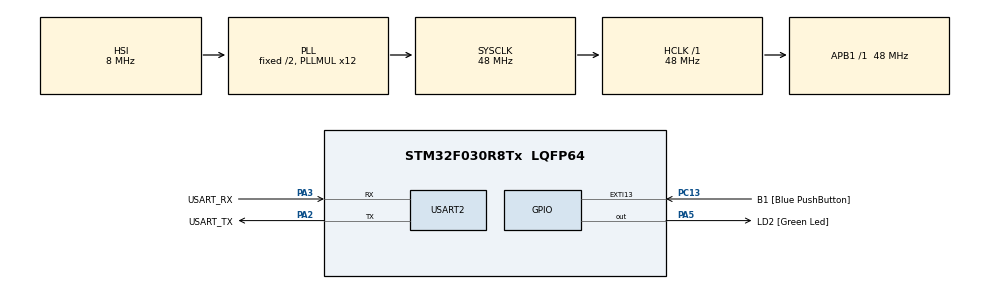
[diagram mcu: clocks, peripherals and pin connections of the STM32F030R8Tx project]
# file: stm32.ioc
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Mcu.Family=STM32F0
Mcu.Name=STM32F030R8Tx
Mcu.Package=LQFP64
PA13.GPIO_Label=TMS
PA13.Mode=Serial_Wire
PA13.Signal=SYS_SWDIO
PA14.GPIO_Label=TCK
PA14.Mode=Serial_Wire
PA14.Signal=SYS_SWCLK
PA2.GPIO_Label=USART_TX
PA2.GPIO_Mode=GPIO_MODE_AF_PP
PA2.GPIO_PuPd=GPIO_NOPULL
PA2.GPIO_Speed=GPIO_SPEED_FREQ_LOW
PA2.Mode=Asynchronous
PA2.Signal=USART2_TX
PA3.GPIO_Label=USART_RX
PA3.GPIO_Mode=GPIO_MODE_AF_PP
PA3.GPIO_PuPd=GPIO_NOPULL
PA3.GPIO_Speed=GPIO_SPEED_FREQ_LOW
PA3.Mode=Asynchronous
PA3.Signal=USART2_RX
PA5.GPIO_Label=LD2 [Green Led]
PA5.GPIO_Mode=GPIO_MODE_OUTPUT_PP
PA5.GPIO_PuPd=GPIO_NOPULL
PA5.GPIO_Speed=GPIO_SPEED_FREQ_LOW
PA5.Signal=GPIO_Output
PC13.GPIO_Label=B1 [Blue PushButton]
PC13.GPIO_ModeDefaultEXTI=GPIO_MODE_IT_FALLING
PC13.Signal=GPXTI13
PC14-OSC32_IN.Mode=LSE-External-Oscillator
PC14-OSC32_IN.Signal=RCC_OSC32_IN
PC15-OSC32_OUT.Mode=LSE-External-Oscillator
PC15-OSC32_OUT.Signal=RCC_OSC32_OUT
PF0-OSC_IN.Mode=HSE-External-Clock-Source
PF0-OSC_IN.Signal=RCC_OSC_IN
PF1-OSC_OUT.Signal=RCC_OSC_OUT
ProjectManager.HeapSize=0x200
ProjectManager.StackSize=0x400
ProjectManager.TargetToolchain=STM32CubeIDE
RCC.AHBFreq_Value=48000000
RCC.APB1Freq_Value=48000000
RCC.APB1TimFreq_Value=48000000
RCC.HCLKFreq_Value=48000000
RCC.PLLMUL=RCC_PLL_MUL12
RCC.SYSCLKFreq_VALUE=48000000
RCC.SYSCLKSource=RCC_SYSCLKSOURCE_PLLCLK
TIM16.Prescaler=47
USART2.VirtualMode-Asynchronous=VM_ASYNC
VP_TIM16_VS_ClockSourceINT.Mode=Enable_Timer
board=NUCLEO-F030R8

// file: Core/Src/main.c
/* USER CODE BEGIN Header */
/**
 ******************************************************************************
 * @file           : main.c
 * @brief          : Main program body
 ******************************************************************************
 * @attention
 *
 * Copyright (c) 2025 STMicroelectronics.
 * All rights reserved.
 *
 * This software is licensed under terms that can be found in the LICENSE file
 * in the root directory of this software component.
 * If no LICENSE file comes with this software, it is provided AS-IS.
 *
 ******************************************************************************
 */
/* USER CODE END Header */
#include "main.h"
#include <stdio.h>
#include <math.h>
#include <stdint.h>
#include <string.h>

/* USER CODE BEGIN PD */
#define IMG_SIZE 90			 // Tamanho N x N da imagem (90x90)
#define KUWAHARA_WINDOW 3	 // Janela do filtro Kuwahara
#define BUFFER_SIZE 46		 // Buffer para 46 linhas (0-45 ou 44-89)
#define MAX_PIXEL_VALUE 255 // Valor máximo de pixel (escala de cinza)

// Modo de operação: comente a linha abaixo para usar modo Flash (antigo)
#define STREAMING_MODE // Habilita recepção via UART (modo streaming)

#ifndef STREAMING_MODE
// Modo Flash: escolha a imagem
#define USE_MONA_LISA
// #define USE_PEPPER

#ifdef USE_MONA_LISA
#include "image_mona_lisa.h"
#elif defined(USE_PEPPER)
#include "image_pepper.h"
#else
#error "Nenhuma imagem selecionada! Defina USE_MONA_LISA ou USE_PEPPER"
#endif
#endif

/* USER CODE END PD */

TIM_HandleTypeDef htim16;

UART_HandleTypeDef huart2;

/* USER CODE BEGIN PV */
#ifdef STREAMING_MODE
// Buffer para 46 linhas da imagem (46x90)
static pixel_t image_buffer[BUFFER_SIZE][IMG_SIZE];
#endif
/* USER CODE END PV */

void SystemClock_Config(void);
static void MX_GPIO_Init(void);
static void MX_USART2_UART_Init(void);
static void MX_TIM16_Init(void);

/* USER CODE BEGIN 0 */
/**
 * @brief Aplica o filtro Kuwahara na imagem de entrada.
 * @param image_in Ponteiro para a imagem de entrada (const, na Flash).
 * @param image_out Ponteiro para a imagem de saída (na SRAM).
 * @param window Tamanho da janela do filtro (deve ser 3, 5, 7, etc.).
 */
/**
 * @brief Aplica o filtro Kuwahara na imagem de entrada e imprime o resultado no terminal.
 * @param image_in Ponteiro para a imagem de entrada (const, na Flash).
 * @param window Tamanho da janela do filtro (deve ser 3, 5, 7, etc.).
 */
void kuwahara_filter(const pixel_t image_in[IMG_SIZE][IMG_SIZE],
							int window)
{
	// Define dimensões da imagem e calcular tamanho dos quadrantes
	const int width = IMG_SIZE;
	const int height = IMG_SIZE;
	const int window_size = window;
	const int quadrant_size = (window_size + 1) / 2;

	// Imprime cabeçalho PGM P2 APENAS UMA VEZ
	printf("P2\n");
	printf("%d %d\n", IMG_SIZE, IMG_SIZE);
	printf("255\n");

	// Percorre cada pixel da imagem e imprime o resultado Imediatamente
	for (int pixel_y = 0; pixel_y < height; ++pixel_y)
	{
		for (int pixel_x = 0; pixel_x < width; ++pixel_x)
		{
			// Calcula canto superior esquerdo da janela centrada no pixel atual
			int window_top_y = pixel_y - (window_size / 2);
			int window_left_x = pixel_x - (window_size / 2);

			// Inicializa busca pelo quadrante com menor desvio padrão
			double best_std_dev = 1e300; // valor inicial muito grande
			double best_mean = image_in[pixel_y][pixel_x];

			// Analisa os 4 quadrantes sobrepostos
			// Pykuwahara usa "anchors" na ordem: (0,0), (0,1), (1,0), (1,1)
			// Que correspondem aos quadrantes: (1,1), (0,1), (1,0), (0,0)
			int quadrant_order[4][2] = {{1, 1}, {0, 1}, {1, 0}, {0, 0}};

			for (int q = 0; q < 4; ++q)
			{
				int quadrant_y = quadrant_order[q][0];
				int quadrant_x = quadrant_order[q][1];

				// Acumula soma e soma dos quadrados para calcular estatísticas
				long long sum = 0, sum_sq = 0;
				int pixel_count = 0;

				// Percorre pixels dentro do quadrante atual
				for (int offset_y = 0; offset_y < quadrant_size; ++offset_y)
				{
					for (int offset_x = 0; offset_x < quadrant_size; ++offset_x)
					{
						// Calcula posição real do pixel (com sobreposição dos quadrantes)
						int read_y = window_top_y + (quadrant_y ? (quadrant_size - 1) : 0) + offset_y;
						int read_x = window_left_x + (quadrant_x ? (quadrant_size - 1) : 0) + offset_x;

						// Aplica BORDER_REFLECT_101 (reflexão espelhada, como no OpenCV)
						// Reflete para dentro da imagem sem incluir o pixel da borda
						if (read_y < 0)
							read_y = -read_y;
						if (read_y >= height)
							read_y = 2 * height - read_y - 2;
						if (read_x < 0)
							read_x = -read_x;
						if (read_x >= width)
							read_x = 2 * width - read_x - 2;

						// Clamping como fallback para casos extremos
						if (read_y < 0)
							read_y = 0;
						if (read_y >= height)
							read_y = height - 1;
						if (read_x < 0)
							read_x = 0;
						if (read_x >= width)
							read_x = width - 1;

						// Acumula valores para cálculo de média e desvio padrão
						int pixel_value = image_in[read_y][read_x];
						sum += pixel_value;
						sum_sq += (long long)pixel_value * (long long)pixel_value;
						pixel_count++;
					}
				}

				// Calcula estatísticas do quadrante atual
				if (pixel_count > 1)
				{
					double mean = (double)sum / (double)pixel_count;

					// Calcula Variância Populacional
					double variance = ((double)sum_sq - (double)sum * sum / pixel_count) / pixel_count;

					double std_dev = sqrt(variance);

					// Atualiza se encontrou quadrante mais homogêneo (menor desvio padrão)
					if (std_dev < best_std_dev)
					{
						best_std_dev = std_dev;
						best_mean = mean; // Armazena sem arredondar
					}
				}
			}

			// Atribui média do melhor quadrante ao pixel de saída (trunca para int)
			int filtered_value = (int)(best_mean);

			printf("%d", filtered_value);

			// Adiciona um espaço após o pixel, exceto o último da linha
			if (pixel_x < width - 1)
			{
				printf(" ");
			}
		}
		// Nova linha após cada linha da imagem (90 pixels)
		printf("\n");
	}
}

#ifdef STREAMING_MODE
// Envia string inteira
static void uart_send_str(const char *s)
{
	size_t len = strlen(s);
	if (len > 0)
	{
		HAL_UART_Transmit(&huart2, (uint8_t *)s, (uint16_t)len, 1000);
	}
}

// Aguarda por um token específico (ex: "#GO2#") dentro de um tempo total
static int uart_wait_token(const char *token, uint32_t timeout_ms)
{
	const size_t tlen = strlen(token);
	size_t matched = 0;
	uint8_t b;
	uint32_t start = HAL_GetTick();

	while ((HAL_GetTick() - start) < timeout_ms)
	{
		if (HAL_UART_Receive(&huart2, &b, 1, 100) == HAL_OK)
		{
			if (b == (uint8_t)token[matched])
			{
				matched++;
				if (matched == tlen)
					return 1; // encontrado
			}
			else
			{
				matched = (b == (uint8_t)token[0]) ? 1 : 0;
			}
		}
	}
	return 0; // não encontrado
}

/**
 * @brief Recebe uma linha de pixels via UART.
 * @param line_buffer Ponteiro para array onde armazenar a linha.
 * @return 1 se sucesso, 0 se erro.
 */
int receive_line_uart(pixel_t *line_buffer)
{
	uint8_t rx_byte;
	int pixel_count = 0;
	int current_value = 0;
	int has_digit = 0;

	while (pixel_count < IMG_SIZE)
	{
		if (HAL_UART_Receive(&huart2, &rx_byte, 1, 3600000) == HAL_OK)
		{
			if (rx_byte >= '0' && rx_byte <= '9')
			{
				current_value = current_value * 10 + (rx_byte - '0');
				has_digit = 1;
			}
			else if (rx_byte == ' ' || rx_byte == '\n' || rx_byte == '\r')
			{
				if (has_digit)
				{
					line_buffer[pixel_count++] = (pixel_t)current_value;
					current_value = 0;
					has_digit = 0;
				}
				if (rx_byte == '\n')
					break;
			}
		}
		else
		{
			return 0; // Timeout
		}
	}
	return (pixel_count == IMG_SIZE) ? 1 : 0;
}

/**
 * @brief Processa e envia linhas filtradas, usando o buffer como fonte.
 * @param start_line Linha inicial na imagem COMPLETA (0-89).
 * @param end_line Linha final na imagem COMPLETA (0-89).
 * @param buffer_start_line Linha inicial no BUFFER (0-45).
 */
// Aplica o filtro Kuwahara usando o buffer parcial (streaming) e envia linhas filtradas
//void kuwahara_filter_buffered(int start_line, int end_line, int buffer_start_line)
//{
//	const int width = IMG_SIZE;
//	const int height = IMG_SIZE;
//	const int window_size = KUWAHARA_WINDOW;
//	const int quadrant_size = (window_size + 1) / 2;
//
//	for (int pixel_y = start_line; pixel_y <= end_line; ++pixel_y)
//	{
//		// Mapeia coordenada global para buffer
//		int buffer_y = pixel_y - start_line + buffer_start_line;
//
//		for (int pixel_x = 0; pixel_x < width; ++pixel_x)
//		{
//			int window_top_y = pixel_y - (window_size / 2);
//			int window_left_x = pixel_x - (window_size / 2);
//
//			double best_std_dev = 1e300;
//			double best_mean = image_buffer[buffer_y][pixel_x];
//
//			int quadrant_order[4][2] = {{1, 1}, {0, 1}, {1, 0}, {0, 0}};
//
//			for (int q = 0; q < 4; ++q)
//			{
//				int quadrant_y = quadrant_order[q][0];
//				int quadrant_x = quadrant_order[q][1];
//
//				long long sum = 0, sum_sq = 0;
//				int pixel_count = 0;
//				int valid_quadrant = 1; // Flag para verificar se todos pixels estão no buffer
//
//				for (int offset_y = 0; offset_y < quadrant_size; ++offset_y)
//				{
//					for (int offset_x = 0; offset_x < quadrant_size; ++offset_x)
//					{
//						int read_y = window_top_y + (quadrant_y ? (quadrant_size - 1) : 0) + offset_y;
//						int read_x = window_left_x + (quadrant_x ? (quadrant_size - 1) : 0) + offset_x;
//
//						// BORDER_REFLECT_101
//						if (read_y < 0)
//							read_y = -read_y;
//						if (read_y >= height)
//							read_y = 2 * height - read_y - 2;
//						if (read_x < 0)
//							read_x = -read_x;
//						if (read_x >= width)
//							read_x = 2 * width - read_x - 2;
//
//						// Clamping
//						if (read_y < 0)
//							read_y = 0;
//						if (read_y >= height)
//							read_y = height - 1;
//						if (read_x < 0)
//							read_x = 0;
//						if (read_x >= width)
//							read_x = width - 1;
//
//						// Converter coordenada global -> buffer
//						int buf_y = read_y - start_line + buffer_start_line;
//
//						// Verifica se está no buffer
//						if (buf_y >= 0 && buf_y < BUFFER_SIZE)
//						{
//							int pixel_value = image_buffer[buf_y][read_x];
//							sum += pixel_value;
//							sum_sq += (long long)pixel_value * (long long)pixel_value;
//							pixel_count++;
//						}
//						else
//						{
//							// Pixel necessário não está no buffer - quadrante inválido
//							valid_quadrant = 0;
//							break;
//						}
//					}
//					if (!valid_quadrant)
//						break;
//				}
//
//				// Só considera quadrante se todos os pixels estavam disponíveis
//				if (valid_quadrant && pixel_count > 1)
//				{
//					double mean = (double)sum / (double)pixel_count;
//					double variance = ((double)sum_sq - (double)sum * sum / pixel_count) / pixel_count;
//					double std_dev = sqrt(variance);
//
//					if (std_dev < best_std_dev)
//					{
//						best_std_dev = std_dev;
//						best_mean = mean;
//					}
//				}
//			}
//
//			int filtered_value = (int)(best_mean);
//			if (pixel_x < width - 1)
//				printf("%d ", filtered_value);
//			else
//				printf("%d", filtered_value);
//		}
//		printf("\n");
//	}
//}

//// Versão Melhoria 1
//void kuwahara_filter_buffered(int start_line, int end_line, int buffer_start_line)
//{
//	const int width = IMG_SIZE;
//	const int height = IMG_SIZE;
//	const int window_size = KUWAHARA_WINDOW;
//	const int quadrant_size = (window_size + 1) / 2;
//
//	for (int pixel_y = start_line; pixel_y <= end_line; ++pixel_y)
//	{
//		// Mapeia coordenada global para buffer
//		int buffer_y = pixel_y - start_line + buffer_start_line;
//
//		for (int pixel_x = 0; pixel_x < width; ++pixel_x)
//		{
//			int window_top_y = pixel_y - (window_size / 2);
//			int window_left_x = pixel_x - (window_size / 2);
//
//			double best_variance = 1e300;
//			double best_mean = image_buffer[buffer_y][pixel_x];
//
//			int quadrant_order[4][2] = {{1, 1}, {0, 1}, {1, 0}, {0, 0}};
//
//			for (int q = 0; q < 4; ++q)
//			{
//				int quadrant_y = quadrant_order[q][0];
//				int quadrant_x = quadrant_order[q][1];
//
//				long long sum = 0, sum_sq = 0;
//				int pixel_count = 0;
//				int valid_quadrant = 1; // Flag para verificar se todos pixels estão no buffer
//
//				for (int offset_y = 0; offset_y < quadrant_size; ++offset_y)
//				{
//					for (int offset_x = 0; offset_x < quadrant_size; ++offset_x)
//					{
//						int read_y = window_top_y + (quadrant_y ? (quadrant_size - 1) : 0) + offset_y;
//						int read_x = window_left_x + (quadrant_x ? (quadrant_size - 1) : 0) + offset_x;
//
//						// BORDER_REFLECT_101
//						if (read_y < 0)
//							read_y = -read_y;
//						if (read_y >= height)
//							read_y = 2 * height - read_y - 2;
//						if (read_x < 0)
//							read_x = -read_x;
//						if (read_x >= width)
//							read_x = 2 * width - read_x - 2;
//
//						// Clamping
//						if (read_y < 0)
//							read_y = 0;
//						if (read_y >= height)
//							read_y = height - 1;
//						if (read_x < 0)
//							read_x = 0;
//						if (read_x >= width)
//							read_x = width - 1;
//
//						// Converter coordenada global -> buffer
//						int buf_y = read_y - start_line + buffer_start_line;
//
//						// Verifica se está no buffer
//						if (buf_y >= 0 && buf_y < BUFFER_SIZE)
//						{
//							int pixel_value = image_buffer[buf_y][read_x];
//							sum += pixel_value;
//							sum_sq += (long long)pixel_value * (long long)pixel_value;
//							pixel_count++;
//						}
//						else
//						{
//							// Pixel necessário não está no buffer - quadrante inválido
//							valid_quadrant = 0;
//							break;
//						}
//					}
//					if (!valid_quadrant)
//						break;
//				}
//
//				// Só considera quadrante se todos os pixels estavam disponíveis
//				if (valid_quadrant && pixel_count > 1)
//				{
//					double mean = (double)sum / (double)pixel_count;
//					double variance = ((double)sum_sq - (double)sum * sum / pixel_count) / pixel_count;
//
//                     if (variance < best_variance) {
//                         best_variance = variance;
//                         best_mean = mean;
//                     }
//				}
//			}
//
//			int filtered_value = (int)(best_mean);
//			if (pixel_x < width - 1)
//				printf("%d ", filtered_value);
//			else
//				printf("%d", filtered_value);
//		}
//		printf("\n");
//	}
//}

//// Versão Melhoria 2
//void kuwahara_filter_buffered(int start_line, int end_line, int buffer_start_line)
//{
//	const int width = IMG_SIZE;
//	const int height = IMG_SIZE;
//	const int window_size = KUWAHARA_WINDOW;
//	const int quadrant_size = (window_size + 1) / 2;
//	const int radius = window_size / 2;
//	const int shift = quadrant_size - 1;
//	static const int quadrant_order[4][2] = {{1, 1}, {0, 1}, {1, 0}, {0, 0}};
//
//	// Miolo do frame completo (onde NÃO existe reflexão/clamp)
//	const int inner_x0 = radius;
//	const int inner_x1 = width - radius - 1;
//	const int inner_y0 = radius;
//	const int inner_y1 = height - radius - 1;
//
//	for (int pixel_y = start_line; pixel_y <= end_line; ++pixel_y)
//	{
//		// Mapeia coordenada global para buffer
//		int buffer_y = pixel_y - start_line + buffer_start_line;
//
//		for (int pixel_x = 0; pixel_x < width; ++pixel_x)
//		{
//			int window_top_y = pixel_y - radius;
//			int window_left_x = pixel_x - radius;
//
//			double best_variance = 1e300;
//			double best_mean = image_buffer[buffer_y][pixel_x];
//
//			const int is_inner = (pixel_x >= inner_x0 && pixel_x <= inner_x1 &&
//							 pixel_y >= inner_y0 && pixel_y <= inner_y1);
//
//			for (int q = 0; q < 4; ++q)
//			{
//				int quadrant_y = quadrant_order[q][0];
//				int quadrant_x = quadrant_order[q][1];
//
//				long long sum = 0, sum_sq = 0;
//				int pixel_count = 0;
//				int valid_quadrant = 1; // Flag para verificar se todos pixels estão no buffer
//
//				if (is_inner)
//				{
//					// FAST PATH: sem reflexão/clamp (índices sempre dentro do frame)
//					const int base_y = window_top_y + (quadrant_y ? shift : 0);
//					const int base_x = window_left_x + (quadrant_x ? shift : 0);
//
//					for (int offset_y = 0; offset_y < quadrant_size; ++offset_y)
//					{
//						const int read_y = base_y + offset_y;
//						const int buf_y = read_y - start_line + buffer_start_line;
//						if (buf_y < 0 || buf_y >= BUFFER_SIZE)
//						{
//							valid_quadrant = 0;
//							break;
//						}
//
//						for (int offset_x = 0; offset_x < quadrant_size; ++offset_x)
//						{
//							const int read_x = base_x + offset_x;
//							const int pixel_value = image_buffer[buf_y][read_x];
//							sum += pixel_value;
//							sum_sq += (long long)pixel_value * (long long)pixel_value;
//							pixel_count++;
//						}
//					}
//				}
//				else
//				{
//					// SLOW PATH: mantém exatamente BORDER_REFLECT_101 + clamp
//					for (int offset_y = 0; offset_y < quadrant_size; ++offset_y)
//					{
//						for (int offset_x = 0; offset_x < quadrant_size; ++offset_x)
//						{
//							int read_y = window_top_y + (quadrant_y ? shift : 0) + offset_y;
//							int read_x = window_left_x + (quadrant_x ? shift : 0) + offset_x;
//
//							// BORDER_REFLECT_101
//							if (read_y < 0)
//								read_y = -read_y;
//							if (read_y >= height)
//								read_y = 2 * height - read_y - 2;
//							if (read_x < 0)
//								read_x = -read_x;
//							if (read_x >= width)
//								read_x = 2 * width - read_x - 2;
//
//							// Clamping
//							if (read_y < 0)
//								read_y = 0;
//							if (read_y >= height)
//								read_y = height - 1;
//							if (read_x < 0)
//								read_x = 0;
//							if (read_x >= width)
//								read_x = width - 1;
//
//							// Converter coordenada global -> buffer
//							int buf_y = read_y - start_line + buffer_start_line;
//
//							// Verifica se está no buffer
//							if (buf_y >= 0 && buf_y < BUFFER_SIZE)
//							{
//								int pixel_value = image_buffer[buf_y][read_x];
//								sum += pixel_value;
//								sum_sq += (long long)pixel_value * (long long)pixel_value;
//								pixel_count++;
//							}
//							else
//							{
//								// Pixel necessário não está no buffer - quadrante inválido
//								valid_quadrant = 0;
//								break;
//							}
//						}
//						if (!valid_quadrant)
//							break;
//					}
//				}
//
//				if (!valid_quadrant)
//					continue;
//
//				// Só considera quadrante se todos os pixels estavam disponíveis
//				if (pixel_count > 1)
//				{
//					double mean = (double)sum / (double)pixel_count;
//					double variance = ((double)sum_sq - (double)sum * sum / pixel_count) / pixel_count;
//
//                    if (variance < best_variance) {
//                        best_variance = variance;
//                        best_mean = mean;
//                    }
//				}
//			}
//
//			int filtered_value = (int)(best_mean);
//			if (pixel_x < width - 1)
//				printf("%d ", filtered_value);
//			else
//				printf("%d", filtered_value);
//		}
//		printf("\n");
//	}
//}
// Versão Melhoria 3
void kuwahara_filter_buffered(int start_line, int end_line, int buffer_start_line)
{
	const int width = IMG_SIZE;
	const int height = IMG_SIZE;
	const int window_size = KUWAHARA_WINDOW;
	const int quadrant_size = (window_size + 1) / 2;
	const int radius = window_size / 2;
	const int shift = quadrant_size - 1;
	static const int quadrant_order[4][2] = {{1, 1}, {0, 1}, {1, 0}, {0, 0}};

	// Miolo do frame completo (onde NÃO existe reflexão/clamp)
	const int inner_x0 = radius;
	const int inner_x1 = width - radius - 1;
	const int inner_y0 = radius;
	const int inner_y1 = height - radius - 1;

	for (int pixel_y = start_line; pixel_y <= end_line; ++pixel_y)
	{
		// Mapeia coordenada global para buffer
		int buffer_y = pixel_y - start_line + buffer_start_line;

		for (int pixel_x = 0; pixel_x < width; ++pixel_x)
		{
			int window_top_y = pixel_y - radius;
			int window_left_x = pixel_x - radius;

			double best_std_dev = 1e300;
			double best_mean = image_buffer[buffer_y][pixel_x];

			const int is_inner = (pixel_x >= inner_x0 && pixel_x <= inner_x1 &&
							 pixel_y >= inner_y0 && pixel_y <= inner_y1);

			for (int q = 0; q < 4; ++q)
			{
				int quadrant_y = quadrant_order[q][0];
				int quadrant_x = quadrant_order[q][1];

				long long sum = 0, sum_sq = 0;
				int pixel_count = 0;
				int valid_quadrant = 1; // Flag para verificar se todos pixels estão no buffer

				if (is_inner)
				{
					// FAST PATH: sem reflexão/clamp (índices sempre dentro do frame)
					const int base_y = window_top_y + (quadrant_y ? shift : 0);
					const int base_x = window_left_x + (quadrant_x ? shift : 0);

					for (int offset_y = 0; offset_y < quadrant_size; ++offset_y)
					{
						const int read_y = base_y + offset_y;
						const int buf_y = read_y - start_line + buffer_start_line;
						if (buf_y < 0 || buf_y >= BUFFER_SIZE)
						{
							valid_quadrant = 0;
							break;
						}

						for (int offset_x = 0; offset_x < quadrant_size; ++offset_x)
						{
							const int read_x = base_x + offset_x;
							const int pixel_value = image_buffer[buf_y][read_x];
							sum += pixel_value;
							sum_sq += (long long)pixel_value * (long long)pixel_value;
							pixel_count++;
						}
					}
				}
				else
				{
					// SLOW PATH: mantém exatamente BORDER_REFLECT_101 + clamp
					for (int offset_y = 0; offset_y < quadrant_size; ++offset_y)
					{
						for (int offset_x = 0; offset_x < quadrant_size; ++offset_x)
						{
							int read_y = window_top_y + (quadrant_y ? shift : 0) + offset_y;
							int read_x = window_left_x + (quadrant_x ? shift : 0) + offset_x;

							// BORDER_REFLECT_101
							if (read_y < 0)
								read_y = -read_y;
							if (read_y >= height)
								read_y = 2 * height - read_y - 2;
							if (read_x < 0)
								read_x = -read_x;
							if (read_x >= width)
								read_x = 2 * width - read_x - 2;

							// Clamping
							if (read_y < 0)
								read_y = 0;
							if (read_y >= height)
								read_y = height - 1;
							if (read_x < 0)
								read_x = 0;
							if (read_x >= width)
								read_x = width - 1;

							// Converter coordenada global -> buffer
							int buf_y = read_y - start_line + buffer_start_line;

							// Verifica se está no buffer
							if (buf_y >= 0 && buf_y < BUFFER_SIZE)
							{
								int pixel_value = image_buffer[buf_y][read_x];
								sum += pixel_value;
								sum_sq += (long long)pixel_value * (long long)pixel_value;
								pixel_count++;
							}
							else
							{
								// Pixel necessário não está no buffer - quadrante inválido
								valid_quadrant = 0;
								break;
							}
						}
						if (!valid_quadrant)
							break;
					}
				}

				if (!valid_quadrant)
					continue;

				// Só considera quadrante se todos os pixels estavam disponíveis
				if (pixel_count > 1)
				{
					double mean = (double)sum / (double)pixel_count;
					double variance = ((double)sum_sq - (double)sum * sum / pixel_count) / pixel_count;
					double std_dev = sqrt(variance);

					if (std_dev < best_std_dev)
					{
						best_std_dev = std_dev;
						best_mean = mean;
					}
				}
			}

			int filtered_value = (int)(best_mean);
			if (pixel_x < width - 1)
				printf("%d ", filtered_value);
			else
				printf("%d", filtered_value);
		}
		printf("\n");
	}
}

#endif

/* USER CODE END 0 */

int main(void)
{

  /* USER CODE BEGIN 1 */
	uint32_t timer1, timer2;
  /* USER CODE END 1 */

  /* MCU Configuration--------------------------------------------------------*/

  /* Reset of all peripherals, Initializes the Flash interface and the Systick. */
  HAL_Init();

  /* Configure the system clock */
  SystemClock_Config();

  /* Initialize all configured peripherals */
  MX_GPIO_Init();
  MX_USART2_UART_Init();
  MX_TIM16_Init();
  /* USER CODE BEGIN 2 */

  HAL_TIM_Base_Start(&htim16);
  /* USER CODE END 2 */

  /* Infinite loop */
  while (1)
  {
#ifdef STREAMING_MODE
		// ===== MODO STREAMING: Duas fases com buffer 46x90 =====

		// FASE 1: Recebe linhas 0-45 (primeiras 46 linhas)
		for (int i = 0; i < BUFFER_SIZE; i++)
		{
			if (!receive_line_uart(image_buffer[i]))
			{
				printf("ERROR: Failed to receive line %d\n", i);
				break;
			}
		}

		// Delay antes do cabeçalho
		HAL_Delay(750);

		// Envia cabeçalho PGM
		printf("P2\n");
		printf("%d %d\n", IMG_SIZE, IMG_SIZE);
		printf("%d\n", MAX_PIXEL_VALUE);

		// FASE 1: Processa e envia linhas 0-44 (45 linhas)
		// Buffer tem linhas 0-45, então linha 44 tem contexto completo (linha 45 disponível)
		HAL_Delay(150);

		__HAL_TIM_SET_COUNTER(&htim16, 0);
		timer1 = __HAL_TIM_GET_COUNTER(&htim16);
		kuwahara_filter_buffered(0, 44, 0);
		timer1 = __HAL_TIM_GET_COUNTER(&htim16) - timer1;

		// Sinaliza ao host que MCU terminou FASE 1 e está pronto para iniciar FASE 2
		uart_send_str("#READY2#\n");

		// Aguarda comando explícito do host para iniciar FASE 2
		if (!uart_wait_token("#GO2#", 30000))
		{
			printf("ERROR: GO2 timeout\n");
			continue; // recomeça o loop aguardando uma nova rodada
		}

		// FASE 2: Recebe linhas 44-89 (últimas 46 linhas, sobrescreve buffer)
		int ok_phase2 = 1;
		for (int i = 0; i < BUFFER_SIZE; i++)
		{
			int global_line = 44 + i; // Linhas 44 até 89
			if (!receive_line_uart(image_buffer[i]))
			{
				printf("ERROR: Failed to receive line %d\n", global_line);
				ok_phase2 = 0;
				break;
			}
		}

		HAL_Delay(100);

		// FASE 2: Processa e envia linhas 45-89 (45 linhas)
		if (ok_phase2)
		{
			__HAL_TIM_SET_COUNTER(&htim16, 0);
			timer2 = __HAL_TIM_GET_COUNTER(&htim16);
			kuwahara_filter_buffered(45, 89, 1);
			timer2 = __HAL_TIM_GET_COUNTER(&htim16) - timer2;
		}
		else
		{
			printf("SKIP: Phase 2 processing skipped due to incomplete reception.\n");
		}

		for (int i = 0; i < 10; i++) {
			HAL_Delay(2000);
			printf("Tempo total: %u us\r\n", timer1);
			printf("Tempo total: %u us\r\n", timer2);
			printf("Tempo total: %u us\r\n", (timer1 + timer2));
			printf("\r\n");
		}
#else
		// ===== MODO FLASH: Processamento tradicional =====
		kuwahara_filter(IMAGE_DATA_FLASH, KUWAHARA_WINDOW);

		HAL_Delay(5000); // Delay apenas no modo FLASH
#endif
    /* USER CODE BEGIN 3 */
  };
  /* USER CODE END 3 */
}

void SystemClock_Config(void)
{
  RCC_OscInitTypeDef RCC_OscInitStruct = {0};
  RCC_ClkInitTypeDef RCC_ClkInitStruct = {0};

  /** Initializes the RCC Oscillators according to the specified parameters
  * in the RCC_OscInitTypeDef structure.
  */
  RCC_OscInitStruct.OscillatorType = RCC_OSCILLATORTYPE_HSI;
  RCC_OscInitStruct.HSIState = RCC_HSI_ON;
  RCC_OscInitStruct.HSICalibrationValue = RCC_HSICALIBRATION_DEFAULT;
  RCC_OscInitStruct.PLL.PLLState = RCC_PLL_ON;
  RCC_OscInitStruct.PLL.PLLSource = RCC_PLLSOURCE_HSI;
  RCC_OscInitStruct.PLL.PLLMUL = RCC_PLL_MUL12;
  RCC_OscInitStruct.PLL.PREDIV = RCC_PREDIV_DIV1;
  if (HAL_RCC_OscConfig(&RCC_OscInitStruct) != HAL_OK)
  {
    Error_Handler();
  }

  /** Initializes the CPU, AHB and APB buses clocks
  */
  RCC_ClkInitStruct.ClockType = RCC_CLOCKTYPE_HCLK|RCC_CLOCKTYPE_SYSCLK
                              |RCC_CLOCKTYPE_PCLK1;
  RCC_ClkInitStruct.SYSCLKSource = RCC_SYSCLKSOURCE_PLLCLK;
  RCC_ClkInitStruct.AHBCLKDivider = RCC_SYSCLK_DIV1;
  RCC_ClkInitStruct.APB1CLKDivider = RCC_HCLK_DIV1;

  if (HAL_RCC_ClockConfig(&RCC_ClkInitStruct, FLASH_LATENCY_1) != HAL_OK)
  {
    Error_Handler();
  }
}

static void MX_TIM16_Init(void)
{

  htim16.Instance = TIM16;
  htim16.Init.Prescaler = 47;
  htim16.Init.CounterMode = TIM_COUNTERMODE_UP;
  htim16.Init.Period = 65535;
  htim16.Init.ClockDivision = TIM_CLOCKDIVISION_DIV1;
  htim16.Init.RepetitionCounter = 0;
  htim16.Init.AutoReloadPreload = TIM_AUTORELOAD_PRELOAD_DISABLE;
  if (HAL_TIM_Base_Init(&htim16) != HAL_OK)
  {
    Error_Handler();
  }

}

static void MX_USART2_UART_Init(void)
{

  huart2.Instance = USART2;
  huart2.Init.BaudRate = 115200;
  huart2.Init.WordLength = UART_WORDLENGTH_8B;
  huart2.Init.StopBits = UART_STOPBITS_1;
  huart2.Init.Parity = UART_PARITY_NONE;
  huart2.Init.Mode = UART_MODE_TX_RX;
  huart2.Init.HwFlowCtl = UART_HWCONTROL_NONE;
  huart2.Init.OverSampling = UART_OVERSAMPLING_16;
  huart2.Init.OneBitSampling = UART_ONE_BIT_SAMPLE_DISABLE;
  huart2.AdvancedInit.AdvFeatureInit = UART_ADVFEATURE_NO_INIT;
  if (HAL_UART_Init(&huart2) != HAL_OK)
  {
    Error_Handler();
  }

}

static void MX_GPIO_Init(void)
{
  GPIO_InitTypeDef GPIO_InitStruct = {0};

  /* GPIO Ports Clock Enable */
  __HAL_RCC_GPIOC_CLK_ENABLE();
  __HAL_RCC_GPIOF_CLK_ENABLE();
  __HAL_RCC_GPIOA_CLK_ENABLE();

  /*Configure GPIO pin Output Level */
  HAL_GPIO_WritePin(LD2_GPIO_Port, LD2_Pin, GPIO_PIN_RESET);

  /*Configure GPIO pin : B1_Pin */
  GPIO_InitStruct.Pin = B1_Pin;
  GPIO_InitStruct.Mode = GPIO_MODE_IT_FALLING;
  GPIO_InitStruct.Pull = GPIO_NOPULL;
  HAL_GPIO_Init(B1_GPIO_Port, &GPIO_InitStruct);

  /*Configure GPIO pin : LD2_Pin */
  GPIO_InitStruct.Pin = LD2_Pin;
  GPIO_InitStruct.Mode = GPIO_MODE_OUTPUT_PP;
  GPIO_InitStruct.Pull = GPIO_NOPULL;
  GPIO_InitStruct.Speed = GPIO_SPEED_FREQ_LOW;
  HAL_GPIO_Init(LD2_GPIO_Port, &GPIO_InitStruct);

}

/* USER CODE BEGIN 4 */
/**
 * @brief Redireciona a função printf da biblioteca C para a UART.
 * @param ch Caractere a ser enviado.
 * @return Caractere enviado.
 */
int __io_putchar(int ch)
{
	// Usa um buffer de 8 bits para o caractere
	uint8_t data = (uint8_t)ch;

	// Transmite o caractere via UART2 (huart2)
	// O último parâmetro (100) é o timeout em ms.
	HAL_UART_Transmit(&huart2, &data, 1, 100);

	return ch;
}
/* USER CODE END 4 */

void Error_Handler(void)
{
	__disable_irq();
	while (1)
	{
	}
}
